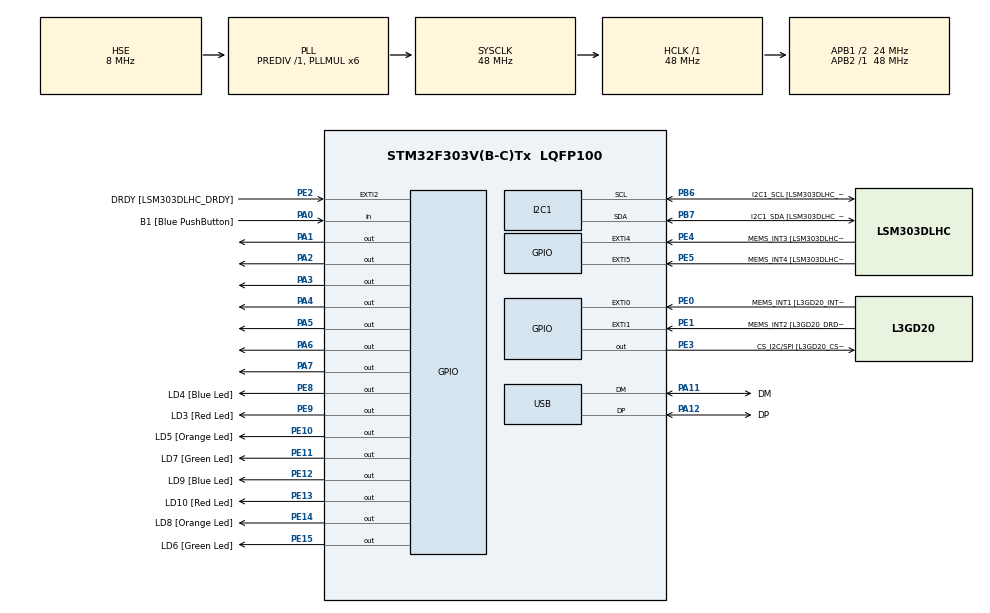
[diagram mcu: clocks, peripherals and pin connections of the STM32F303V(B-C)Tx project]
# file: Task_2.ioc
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I2C1.Timing=0x00201D2B
I2C1.Timing-I2C=0x2000090E
Mcu.Family=STM32F3
Mcu.Name=STM32F303V(B-C)Tx
Mcu.Package=LQFP100
NVIC.PriorityGroup=NVIC_PRIORITYGROUP_0
PA0.GPIO_Label=B1 [Blue PushButton]
PA0.Signal=GPIO_Input
PA1.Signal=GPIO_Output
PA11.GPIO_Label=DM
PA11.Mode=Device
PA11.Signal=USB_DM
PA12.GPIO_Label=DP
PA12.Mode=Device
PA12.Signal=USB_DP
PA13.GPIO_Label=SWDIO
PA13.Mode=Serial_Wire
PA13.Signal=SYS_JTMS-SWDIO
PA14.GPIO_Label=SWCLK
PA14.Mode=Serial_Wire
PA14.Signal=SYS_JTCK-SWCLK
PA2.Signal=GPIO_Output
PA3.Signal=GPIO_Output
PA4.Signal=GPIO_Output
PA5.Signal=GPIO_Output
PA6.Signal=GPIO_Output
PA7.Signal=GPIO_Output
PB3.GPIO_Label=SWO
PB3.Signal=SYS_JTDO-TRACESWO
PB6.GPIO_Label=I2C1_SCL [LSM303DLHC_SCL]
PB6.GPIO_Pu=GPIO_PULLUP
PB6.Mode=I2C
PB6.Signal=I2C1_SCL
PB7.GPIO_Label=I2C1_SDA [LSM303DLHC_SDA]
PB7.GPIO_Pu=GPIO_PULLUP
PB7.Mode=I2C
PB7.Signal=I2C1_SDA
PC14-OSC32_IN.GPIO_Label=OSC32_IN
PC14-OSC32_IN.Signal=RCC_OSC32_IN
PC15-OSC32_OUT.GPIO_Label=OSC32_OUT
PC15-OSC32_OUT.Signal=RCC_OSC32_OUT
PE0.GPIO_Label=MEMS_INT1 [L3GD20_INT1]
PE0.GPIO_ModeDefaultEXTI=GPIO_MODE_EVT_RISING
PE0.Signal=GPXTI0
PE1.GPIO_Label=MEMS_INT2 [L3GD20_DRDY/INT2]
PE1.GPIO_ModeDefaultEXTI=GPIO_MODE_EVT_RISING
PE1.Signal=GPXTI1
PE10.GPIO_Label=LD5 [Orange Led]
PE10.Signal=GPIO_Output
PE11.GPIO_Label=LD7 [Green Led]
PE11.Signal=GPIO_Output
PE12.GPIO_Label=LD9 [Blue Led]
PE12.Signal=GPIO_Output
PE13.GPIO_Label=LD10 [Red Led]
PE13.Signal=GPIO_Output
PE14.GPIO_Label=LD8 [Orange Led]
PE14.Signal=GPIO_Output
PE15.GPIO_Label=LD6 [Green Led]
PE15.Signal=GPIO_Output
PE2.GPIO_Label=DRDY [LSM303DLHC_DRDY]
PE2.GPIO_ModeDefaultEXTI=GPIO_MODE_EVT_RISING
PE2.Signal=GPXTI2
PE3.GPIO_Label=CS_I2C/SPI [L3GD20_CS_I2C/SPI]
PE3.Signal=GPIO_Output
PE4.GPIO_Label=MEMS_INT3 [LSM303DLHC_INT1]
PE4.GPIO_ModeDefaultEXTI=GPIO_MODE_EVT_RISING
PE4.Signal=GPXTI4
PE5.GPIO_Label=MEMS_INT4 [LSM303DLHC_INT2]
PE5.GPIO_ModeDefaultEXTI=GPIO_MODE_EVT_RISING
PE5.Signal=GPXTI5
PE8.GPIO_Label=LD4 [Blue Led]
PE8.Signal=GPIO_Output
PE9.GPIO_Label=LD3 [Red Led]
PE9.Signal=GPIO_Output
PF0-OSC_IN.GPIO_Label=OSC_IN
PF0-OSC_IN.Mode=HSE-External-Clock-Source
PF0-OSC_IN.Signal=RCC_OSC_IN
PF1-OSC_OUT.GPIO_Label=OSC_OUT
PF1-OSC_OUT.Signal=RCC_OSC_OUT
ProjectManager.HeapSize=0x200
ProjectManager.StackSize=0x400
ProjectManager.TargetToolchain=CMake
RCC.AHBFreq_Value=48000000
RCC.APB1CLKDivider=RCC_HCLK_DIV2
RCC.APB1Freq_Value=24000000
RCC.APB1TimFreq_Value=48000000
RCC.APB2Freq_Value=48000000
RCC.APB2TimFreq_Value=48000000
RCC.CortexFreq_Value=48000000
RCC.HCLKFreq_Value=48000000
RCC.HSE_VALUE=8000000
RCC.HSI_VALUE=8000000
RCC.LSE_VALUE=32768
RCC.PLLMUL=RCC_PLL_MUL6
RCC.SYSCLKFreq_VALUE=48000000
RCC.SYSCLKSourceVirtual=RCC_SYSCLKSOURCE_PLLCLK
RCC.USBFreq_Value=48000000
board=STM32F3DISCOVERY

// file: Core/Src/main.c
/* USER CODE BEGIN Header */
/**
  ******************************************************************************
  * @file           : main.c
  * @brief          : Main program body
  ******************************************************************************
  * @attention
  *
  * Copyright (c) 2026 STMicroelectronics.
  * All rights reserved.
  *
  * This software is licensed under terms that can be found in the LICENSE file
  * in the root directory of this software component.
  * If no LICENSE file comes with this software, it is provided AS-IS.
  *
  ******************************************************************************
  */
/* USER CODE END Header */
#include "main.h"

I2C_HandleTypeDef hi2c1;

PCD_HandleTypeDef hpcd_USB_FS;

void SystemClock_Config(void);
static void MX_GPIO_Init(void);
static void MX_I2C1_Init(void);
static void MX_USB_PCD_Init(void);

/* USER CODE BEGIN 0 */
uint8_t student_id[] = {0,9,9,3,4}; // Example student ID: 09934
uint8_t id_length = sizeof(student_id) / sizeof(student_id[0]);
uint8_t current_index = 0;
void display_number(uint8_t num) {
    static const uint8_t segment_map[] = {
        0x40, // 0
        0x79, // 1
        0x24, // 2
        0x30, // 3
        0x19, // 4
        0x12, // 5
        0x02, // 6
        0x78, // 7
        0x00, // 8
        0x10, // 9
        0x08, // A
        0x03, // b
        0x46, // C
        0x21, // d
        0x06, // E
        0x0E  // F
    };

    // Ensure we don't go out of bounds (0-15)
    if (num > 15) return;

    uint8_t pattern = segment_map[num];

    HAL_GPIO_WritePin(GPIOA, GPIO_PIN_7, (pattern & 0x01) ? GPIO_PIN_SET : GPIO_PIN_RESET); // a
    HAL_GPIO_WritePin(GPIOA, GPIO_PIN_1, (pattern >> 1 & 0x01) ? GPIO_PIN_SET : GPIO_PIN_RESET); // b
    HAL_GPIO_WritePin(GPIOA, GPIO_PIN_2, (pattern >> 2 & 0x01) ? GPIO_PIN_SET : GPIO_PIN_RESET); // c
    HAL_GPIO_WritePin(GPIOA, GPIO_PIN_3, (pattern >> 3 & 0x01) ? GPIO_PIN_SET : GPIO_PIN_RESET); // d
    HAL_GPIO_WritePin(GPIOA, GPIO_PIN_4, (pattern >> 4 & 0x01) ? GPIO_PIN_SET : GPIO_PIN_RESET); // e
    HAL_GPIO_WritePin(GPIOA, GPIO_PIN_5, (pattern >> 5 & 0x01) ? GPIO_PIN_SET : GPIO_PIN_RESET); // f
    HAL_GPIO_WritePin(GPIOA, GPIO_PIN_6, (pattern >> 6 & 0x01) ? GPIO_PIN_SET : GPIO_PIN_RESET); // g
}
/* USER CODE END 0 */

int main(void)
{

  /* MCU Configuration--------------------------------------------------------*/

  /* Reset of all peripherals, Initializes the Flash interface and the Systick. */
  HAL_Init();

  /* Configure the system clock */
  SystemClock_Config();

  /* Initialize all configured peripherals */
  MX_GPIO_Init();
  MX_I2C1_Init();
  MX_USB_PCD_Init();
  /* USER CODE BEGIN 2 */

    /* USER CODE END WHILE */

  // Show the first digit immediately
  display_number(student_id[current_index]);
  /* USER CODE END 2 */

  /* Infinite loop */
  while (1)
  {
    if (HAL_GPIO_ReadPin(GPIOA, GPIO_PIN_0) == GPIO_PIN_SET) {

        // 2. Debouncing: Wait a short time and check again
        HAL_Delay(50);
        if (HAL_GPIO_ReadPin(GPIOA, GPIO_PIN_0) == GPIO_PIN_SET) {

            // 3. Increment index and reset to 0 if at the end
            current_index++;
            if (current_index >= id_length) {
                current_index = 0;
            }

            // 4. Update the display
            display_number(student_id[current_index]);

            // 5. Wait for button release so it doesn't skip digits
            while (HAL_GPIO_ReadPin(GPIOA, GPIO_PIN_0) == GPIO_PIN_SET);
        }
    }
  }
}

void SystemClock_Config(void)
{
  RCC_OscInitTypeDef RCC_OscInitStruct = {0};
  RCC_ClkInitTypeDef RCC_ClkInitStruct = {0};
  RCC_PeriphCLKInitTypeDef PeriphClkInit = {0};

  /** Initializes the RCC Oscillators according to the specified parameters
  * in the RCC_OscInitTypeDef structure.
  */
  RCC_OscInitStruct.OscillatorType = RCC_OSCILLATORTYPE_HSI|RCC_OSCILLATORTYPE_HSE;
  RCC_OscInitStruct.HSEState = RCC_HSE_BYPASS;
  RCC_OscInitStruct.HSEPredivValue = RCC_HSE_PREDIV_DIV1;
  RCC_OscInitStruct.HSIState = RCC_HSI_ON;
  RCC_OscInitStruct.HSICalibrationValue = RCC_HSICALIBRATION_DEFAULT;
  RCC_OscInitStruct.PLL.PLLState = RCC_PLL_ON;
  RCC_OscInitStruct.PLL.PLLSource = RCC_PLLSOURCE_HSE;
  RCC_OscInitStruct.PLL.PLLMUL = RCC_PLL_MUL6;
  if (HAL_RCC_OscConfig(&RCC_OscInitStruct) != HAL_OK)
  {
    Error_Handler();
  }

  /** Initializes the CPU, AHB and APB buses clocks
  */
  RCC_ClkInitStruct.ClockType = RCC_CLOCKTYPE_HCLK|RCC_CLOCKTYPE_SYSCLK
                              |RCC_CLOCKTYPE_PCLK1|RCC_CLOCKTYPE_PCLK2;
  RCC_ClkInitStruct.SYSCLKSource = RCC_SYSCLKSOURCE_PLLCLK;
  RCC_ClkInitStruct.AHBCLKDivider = RCC_SYSCLK_DIV1;
  RCC_ClkInitStruct.APB1CLKDivider = RCC_HCLK_DIV2;
  RCC_ClkInitStruct.APB2CLKDivider = RCC_HCLK_DIV1;

  if (HAL_RCC_ClockConfig(&RCC_ClkInitStruct, FLASH_LATENCY_1) != HAL_OK)
  {
    Error_Handler();
  }
  PeriphClkInit.PeriphClockSelection = RCC_PERIPHCLK_USB|RCC_PERIPHCLK_I2C1;
  PeriphClkInit.I2c1ClockSelection = RCC_I2C1CLKSOURCE_HSI;
  PeriphClkInit.USBClockSelection = RCC_USBCLKSOURCE_PLL;
  if (HAL_RCCEx_PeriphCLKConfig(&PeriphClkInit) != HAL_OK)
  {
    Error_Handler();
  }
}

static void MX_I2C1_Init(void)
{

  hi2c1.Instance = I2C1;
  hi2c1.Init.Timing = 0x00201D2B;
  hi2c1.Init.OwnAddress1 = 0;
  hi2c1.Init.AddressingMode = I2C_ADDRESSINGMODE_7BIT;
  hi2c1.Init.DualAddressMode = I2C_DUALADDRESS_DISABLE;
  hi2c1.Init.OwnAddress2 = 0;
  hi2c1.Init.OwnAddress2Masks = I2C_OA2_NOMASK;
  hi2c1.Init.GeneralCallMode = I2C_GENERALCALL_DISABLE;
  hi2c1.Init.NoStretchMode = I2C_NOSTRETCH_DISABLE;
  if (HAL_I2C_Init(&hi2c1) != HAL_OK)
  {
    Error_Handler();
  }

  /** Configure Analogue filter
  */
  if (HAL_I2CEx_ConfigAnalogFilter(&hi2c1, I2C_ANALOGFILTER_ENABLE) != HAL_OK)
  {
    Error_Handler();
  }

  /** Configure Digital filter
  */
  if (HAL_I2CEx_ConfigDigitalFilter(&hi2c1, 0) != HAL_OK)
  {
    Error_Handler();
  }

}

static void MX_USB_PCD_Init(void)
{

  hpcd_USB_FS.Instance = USB;
  hpcd_USB_FS.Init.dev_endpoints = 8;
  hpcd_USB_FS.Init.speed = PCD_SPEED_FULL;
  hpcd_USB_FS.Init.phy_itface = PCD_PHY_EMBEDDED;
  hpcd_USB_FS.Init.low_power_enable = DISABLE;
  hpcd_USB_FS.Init.battery_charging_enable = DISABLE;
  if (HAL_PCD_Init(&hpcd_USB_FS) != HAL_OK)
  {
    Error_Handler();
  }

}

static void MX_GPIO_Init(void)
{
  GPIO_InitTypeDef GPIO_InitStruct = {0};

  /* GPIO Ports Clock Enable */
  __HAL_RCC_GPIOE_CLK_ENABLE();
  __HAL_RCC_GPIOC_CLK_ENABLE();
  __HAL_RCC_GPIOF_CLK_ENABLE();
  __HAL_RCC_GPIOA_CLK_ENABLE();
  __HAL_RCC_GPIOB_CLK_ENABLE();

  /*Configure GPIO pin Output Level */
  HAL_GPIO_WritePin(GPIOE, CS_I2C_SPI_Pin|LD4_Pin|LD3_Pin|LD5_Pin
                          |LD7_Pin|LD9_Pin|LD10_Pin|LD8_Pin
                          |LD6_Pin, GPIO_PIN_RESET);

  /*Configure GPIO pin Output Level */
  HAL_GPIO_WritePin(GPIOA, GPIO_PIN_1|GPIO_PIN_2|GPIO_PIN_3|GPIO_PIN_4
                          |GPIO_PIN_5|GPIO_PIN_6|GPIO_PIN_7, GPIO_PIN_RESET);

  /*Configure GPIO pins : DRDY_Pin MEMS_INT3_Pin MEMS_INT4_Pin MEMS_INT1_Pin
                           MEMS_INT2_Pin */
  GPIO_InitStruct.Pin = DRDY_Pin|MEMS_INT3_Pin|MEMS_INT4_Pin|MEMS_INT1_Pin
                          |MEMS_INT2_Pin;
  GPIO_InitStruct.Mode = GPIO_MODE_EVT_RISING;
  GPIO_InitStruct.Pull = GPIO_NOPULL;
  HAL_GPIO_Init(GPIOE, &GPIO_InitStruct);

  /*Configure GPIO pins : CS_I2C_SPI_Pin LD4_Pin LD3_Pin LD5_Pin
                           LD7_Pin LD9_Pin LD10_Pin LD8_Pin
                           LD6_Pin */
  GPIO_InitStruct.Pin = CS_I2C_SPI_Pin|LD4_Pin|LD3_Pin|LD5_Pin
                          |LD7_Pin|LD9_Pin|LD10_Pin|LD8_Pin
                          |LD6_Pin;
  GPIO_InitStruct.Mode = GPIO_MODE_OUTPUT_PP;
  GPIO_InitStruct.Pull = GPIO_NOPULL;
  GPIO_InitStruct.Speed = GPIO_SPEED_FREQ_LOW;
  HAL_GPIO_Init(GPIOE, &GPIO_InitStruct);

  /*Configure GPIO pin : B1_Pin */
  GPIO_InitStruct.Pin = B1_Pin;
  GPIO_InitStruct.Mode = GPIO_MODE_INPUT;
  GPIO_InitStruct.Pull = GPIO_NOPULL;
  HAL_GPIO_Init(B1_GPIO_Port, &GPIO_InitStruct);

  /*Configure GPIO pins : PA1 PA2 PA3 PA4
                           PA5 PA6 PA7 */
  GPIO_InitStruct.Pin = GPIO_PIN_1|GPIO_PIN_2|GPIO_PIN_3|GPIO_PIN_4
                          |GPIO_PIN_5|GPIO_PIN_6|GPIO_PIN_7;
  GPIO_InitStruct.Mode = GPIO_MODE_OUTPUT_PP;
  GPIO_InitStruct.Pull = GPIO_NOPULL;
  GPIO_InitStruct.Speed = GPIO_SPEED_FREQ_LOW;
  HAL_GPIO_Init(GPIOA, &GPIO_InitStruct);

}

void Error_Handler(void)
{
  __disable_irq();
  while (1)
  {
  }
}
